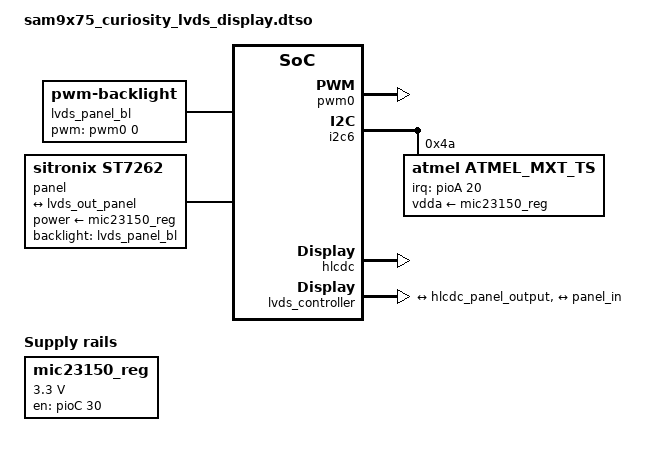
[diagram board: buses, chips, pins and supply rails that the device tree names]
// SPDX-License-Identifier: (GPL-2.0+ OR MIT)
/*
 * Device Tree file for SAM9X75 Curiosity board overlay blob
 * for AC69T88A LVDS Display Panel
 *
 * Copyright (C) 2023 Microchip Technology Inc. and its subsidiaries
 * Author: Dharma Balasubiramani <dharma.b@microchip.com>
 *
 */
/dts-v1/;
/plugin/;

#include <dt-bindings/clock/at91.h>
#include <dt-bindings/pinctrl/at91.h>
#include <dt-bindings/gpio/gpio.h>

&{/} {
        mic23150_reg: mic23150_regulator {
               compatible = "regulator-fixed";
               regulator-name = "panel-power-supply";
               regulator-min-microvolt = <3300000>;
               regulator-max-microvolt = <3300000>;
               gpio = <&pioC 30 GPIO_ACTIVE_HIGH>; /* LCD_MODULE_ENABLE */
               enable-active-high;
               status = "okay";
        };

	lvds_panel_bl: backlight {
		compatible = "pwm-backlight";
		pwms = <&pwm0 0 1000000 0>;
		pinctrl-names = "default";
		pinctrl-0 = <&pinctrl_pwm>;
		brightness-levels = <0 32 64 128 256 512 1024>;
		default-brightness-level = <6>;
		status="okay";
	};

	panel {
		compatible = "sitronix,st7262", "simple-panel";
		backlight = <&lvds_panel_bl>;
		power-supply = <&mic23150_reg>;
		status="okay";
		#address-cells = <1>;
		#size-cells = <0>;

		port@0 {
			reg = <0>;
			panel_in: endpoint {
				remote-endpoint = <&lvds_out_panel>;
			};
		};
	};
};

&pwm0 {
	status = "okay";
};

&i2c6 {
	#address-cells = <1>;
	#size-cells = <0>;
	status = "okay";
	atmel_mxt_ts@4a {
		compatible = "atmel,atmel_mxt_ts";
		reg = <0x4a>;
		interrupt-parent = <&pioA>;
		interrupts = <20 0x8>; /* MXT_IRQ_PA20 */
		vdda-supply = <&mic23150_reg>;
		status = "okay";
	};
};

&hlcdc {
	clocks = <&pmc PMC_TYPE_PERIPHERAL 25>, <&pmc PMC_TYPE_CORE PMC_LVDSPLL>, <&clk32k 1>;
	clock-names = "periph_clk", "lvds_pll_clk", "slow_clk";
	status="okay";

	hlcdc-display-controller {
		port@0 {
			#address-cells = <1>;
			#size-cells = <0>;
			hlcdc_panel_output: endpoint@0 {
				reg = <0>;
				remote-endpoint = <&lvds_in_lcdc>;
			};
		};
	};

	hlcdc_pwm: hlcdc-pwm {
		status = "disabled";
	};
};

&lvds_controller {
	status = "okay";

	ports {
		#address-cells = <1>;
		#size-cells = <0>;
		port@0 {
			reg = <0>;
			lvds_in_lcdc: endpoint {
				remote-endpoint = <&hlcdc_panel_output>;
			};
		};

		port@1 {
			reg = <1>;
			lvds_out_panel: endpoint {
				remote-endpoint = <&panel_in>;
			};
		};
	};
};

&pinctrl {
	pwm {
		pinctrl_pwm: pwm_bl {
			atmel,pins = <AT91_PIOC 18 AT91_PERIPH_C AT91_PINCTRL_NONE>;
		};
	};
};
